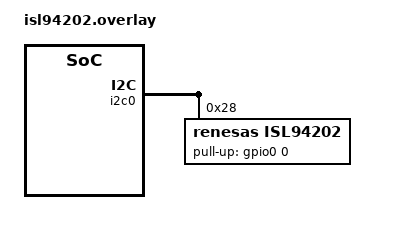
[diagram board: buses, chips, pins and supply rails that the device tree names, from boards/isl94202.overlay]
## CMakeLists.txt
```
# Copyright (c) The Libre Solar Project Contributors
# SPDX-License-Identifier: Apache-2.0

set(BOARD_ROOT ${CMAKE_SOURCE_DIR}/../..)
set(DTS_ROOT ${CMAKE_SOURCE_DIR}/../..)

set(BOARD "native_posix")

cmake_minimum_required(VERSION 3.13.1)
find_package(Zephyr REQUIRED HINTS $ENV{ZEPHYR_BASE})

project(libre_solar_bms_tests)

zephyr_include_directories(./src)
zephyr_include_directories(../../app/src)

zephyr_include_directories(../../../modules/thingset/src)

target_sources(app PRIVATE
        ../../app/src/bms_common.c
        ../../app/src/bms_soc.c
        src/common.c
        src/common_tests.c
)

zephyr_library_sources_ifdef(CONFIG_BMS_IC_BQ769X2
    src/bq769x2_tests_functions.c
    src/bq769x2_tests_interface.c
)

zephyr_library_sources_ifdef(CONFIG_BMS_IC_ISL94202
    src/isl94202_tests.c
)

# determine git tag and commit hash for automatic firmware versioning
find_package(Git)
if(GIT_FOUND)
    execute_process(
        COMMAND ${GIT_EXECUTABLE} describe --long --dirty --tags
        OUTPUT_VARIABLE FIRMWARE_VERSION_ID
        OUTPUT_STRIP_TRAILING_WHITESPACE)
else()
    set(FIRMWARE_VERSION_ID "unknown")
endif()
add_definitions(-DFIRMWARE_VERSION_ID="${FIRMWARE_VERSION_ID}")
```

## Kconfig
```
rsource "../../app/Kconfig"
```

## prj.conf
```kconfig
# SPDX-License-Identifier: Apache-2.0

CONFIG_ZTEST=y
CONFIG_ZTEST_NEW_API=y

CONFIG_THREAD_NAME=y

CONFIG_LOG=y
CONFIG_LOG_MODE_MINIMAL=y

CONFIG_SERIAL=y

CONFIG_THINGSET=y
CONFIG_THINGSET_SDK=y
CONFIG_THINGSET_SERIAL=y

# Change default battery nominal capacity (in Ah)
CONFIG_BAT_CAPACITY_AH=100

# Select cell type for initial configuration: LFP (default), NMC, NMC_HV or LTO
CONFIG_CELL_TYPE_LFP=y

CONFIG_BMS_IC=y
CONFIG_BMS_IC_MAX_THERMISTORS=2

# enable click-able absolute paths in assert messages
CONFIG_BUILD_OUTPUT_STRIP_PATHS=n
```

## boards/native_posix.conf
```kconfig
# Required for BMS emulation
CONFIG_GPIO=y
CONFIG_I2C=y

# required to generate node ID in ThingSet
CONFIG_ENTROPY_GENERATOR=y
CONFIG_ENTROPY_DEVICE_RANDOM_GENERATOR=y
```

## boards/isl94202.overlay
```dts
/*
 * Copyright (c) The Libre Solar Project Contributors
 *
 * SPDX-License-Identifier: Apache-2.0
 */

#include "native_posix.overlay"

/ {
	aliases {
                bms-ic = &isl94202;
        };
};

&i2c0 {
	status = "okay";

	isl94202: isl94202@28 {
		compatible = "renesas,isl94202";
		reg = <0x28>;	/* 0x50 >> 1 */
		pull-up-gpios = <&gpio0 0 GPIO_ACTIVE_HIGH>;
		shunt-resistor-uohm = <2000>;
		board-max-current = <50>;
		used-cell-channels = <0xFF>;
		status = "okay";
	};
};
```

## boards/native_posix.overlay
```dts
/*
 * Copyright (c) The Libre Solar Project Contributors
 *
 * SPDX-License-Identifier: Apache-2.0
 */

/ {
	pcb {
		compatible = "bms";

		type = "Native POSIX dummy";
		version-str = "v0.1";
		version-num = <1>;
	};

	chosen {
		zephyr,console = &uart0;
		zephyr,shell-uart = &uart0;
		zephyr,flash = &flash0;
	};

	leds {
		compatible = "gpio-leds";
		led1: led_0 {
			gpios = <&gpio0 14 GPIO_ACTIVE_HIGH>;
		};
		led2: led_1 {
			gpios = <&gpio0 15 GPIO_ACTIVE_HIGH>;
		};
	};

	gpio_keys {
		compatible = "gpio-keys";
		power_button: button {
			gpios = <&gpio0 8 GPIO_ACTIVE_LOW>;
		};
	};

	aliases {
		led-red = &led1;
		led-green = &led2;
		sw-pwr = &power_button;
		uart-dbg = &uart0;
		uart-uext = &uart0;
	};
};
```

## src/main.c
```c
/*
 * Copyright (c) The Libre Solar Project Contributors
 *
 * SPDX-License-Identifier: Apache-2.0
 */

#include <bms/bms.h>

#include "bq769x2_tests.h"
#include "common_tests.h"
#include "helper_tests.h"
#include "isl94202_tests.h"

#include "unity.h"

#include <stdio.h>

#include <zephyr/device.h>
#include <zephyr/kernel.h>

#ifdef CONFIG_ARCH_POSIX
#include "posix_board_if.h"
#endif

static const struct device *bms_ic = DEVICE_DT_GET(DT_ALIAS(bms_ic));

struct bms_context bms;

float OCV[] = { // 100, 95, ..., 0 %
    3.392, 3.314, 3.309, 3.308, 3.304, 3.296, 3.283, 3.275, 3.271, 3.268, 3.265,
    3.264, 3.262, 3.252, 3.240, 3.226, 3.213, 3.190, 3.177, 3.132, 2.833
};

void setUp(void)
{}

void tearDown(void)
{}

void setup()
{
    bms_ic_assign_data(bms_ic, &bms.ic_data);

    bms_ic_set_mode(bms_ic, BMS_IC_MODE_ACTIVE);

    bms.ic_conf.dis_sc_limit = 35.0;
    bms.ic_conf.dis_sc_delay_us = 200;

    bms.ic_conf.dis_oc_limit = 25.0;
    bms.ic_conf.dis_oc_delay_ms = 320;

    bms.ic_conf.chg_oc_limit = 20.0;
    bms.ic_conf.chg_oc_delay_ms = 320;

    bms.ic_conf.cell_ov_limit = 3.65;
    bms.ic_conf.cell_ov_delay_ms = 2000;

    bms.ic_conf.cell_uv_limit = 2.8;
    bms.ic_conf.cell_uv_delay_ms = 2000;

    bms.ic_conf.dis_ut_limit = -20;
    bms.ic_conf.dis_ot_limit = 45;
    bms.ic_conf.chg_ut_limit = 0;
    bms.ic_conf.chg_ot_limit = 45;
    bms.ic_conf.temp_limit_hyst = 2;

    bms.ocv_points = OCV;

    bms.nominal_capacity_Ah = 45.0;
    bms.ic_data.connected_cells = 4;

    bms.ic_conf.bal_cell_voltage_min = 3.2;
    bms.ic_conf.bal_idle_delay = 10 * 60;
    bms.ic_conf.bal_cell_voltage_diff = 0.01;
    bms.ic_conf.bal_idle_current = 0.1;

    bms_ic_configure(bms_ic, &bms.ic_conf, BMS_IC_CONF_ALL);

    bms_ic_read_data(bms_ic, BMS_IC_DATA_CELL_VOLTAGES);

    bms_soc_reset(&bms, -1);
    bms_ic_set_switches(bms_ic, BMS_SWITCH_DIS, true);
    bms_ic_set_switches(bms_ic, BMS_SWITCH_CHG, true);
}

int main(void)
{
    int err = 0;

    k_sleep(K_MSEC(100));

    setup();

    err += common_tests();

#ifdef CONFIG_BMS_IC_BQ769X0
    err += bq769x0_tests();
#elif defined(CONFIG_BMS_IC_BQ769X2)
    err += bq769x2_tests_functions();
    err += bq769x2_tests_interface();
#elif defined(CONFIG_BMS_IC_ISL94202)
    err += isl94202_tests();
#endif

    err += helper_tests();

#ifdef CONFIG_ARCH_POSIX
    posix_exit(err);
#endif

    return 0;
}
```

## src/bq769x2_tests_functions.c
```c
/*
 * Copyright (c) The Libre Solar Project Contributors
 *
 * SPDX-License-Identifier: Apache-2.0
 */

#include <bms/bms.h>
#include <zephyr/drivers/emul.h>
#include <zephyr/ztest.h>

#include "bq769x2_emul.h"

#include "common.h"

#include <math.h>
#include <stdio.h>
#include <time.h>

static const struct device *bms_ic = DEVICE_DT_GET(DT_ALIAS(bms_ic));
static const struct emul *bms_ic_emul = EMUL_DT_GET(DT_ALIAS(bms_ic));

extern struct bms_context bms;

static const float shunt_res_mohm = DT_PROP(DT_ALIAS(bms_ic), shunt_resistor_uohm) / 1000.0F;

/*
 * Below tests use actual register numbers (instead of defines from registers.h) in order to
 * double-check the register defines vs. datasheet. Also magic numbers for min/max/default
 * values are obtained from the datasheet
 */

ZTEST(bq769x2_functions, test_apply_dis_scp)
{
    int err;

    // default
    bms.ic_conf.dis_sc_limit = 10.0F / shunt_res_mohm; // reg value 0 = 10 mV
    bms.ic_conf.dis_sc_delay_us = (2 - 1) * 15;        // 15 us (reg value 1 = no delay)
    err = bms_ic_configure(bms_ic, &bms.ic_conf, BMS_IC_CONF_CURRENT_LIMITS);
    zassert_equal(0, err);
    zassert_equal(10.0F / shunt_res_mohm, bms.ic_conf.dis_sc_limit);
    zassert_equal((2 - 1) * 15, bms.ic_conf.dis_sc_delay_us);
    zassert_equal(0, bq769x2_emul_get_data_mem(bms_ic_emul, 0x9286));
    zassert_equal(2, bq769x2_emul_get_data_mem(bms_ic_emul, 0x9287));

    // min
    bms.ic_conf.dis_sc_delay_us = (1 - 1) * 15; // 15 us (reg value 1 = no delay)
    err = bms_ic_configure(bms_ic, &bms.ic_conf, BMS_IC_CONF_CURRENT_LIMITS);
    zassert_equal(0, err);
    zassert_equal((1 - 1) * 15, bms.ic_conf.dis_sc_delay_us);
    zassert_equal(1, bq769x2_emul_get_data_mem(bms_ic_emul, 0x9287));

    // too little
    bms.ic_conf.dis_sc_limit = 5.0F / shunt_res_mohm;
    err = bms_ic_configure(bms_ic, &bms.ic_conf, BMS_IC_CONF_CURRENT_LIMITS);
    zassert_equal(0, err);
    zassert_equal(10.0F / shunt_res_mohm, bms.ic_conf.dis_sc_limit);
    zassert_equal(0, bq769x2_emul_get_data_mem(bms_ic_emul, 0x9286));

    // max
    bms.ic_conf.dis_sc_limit = 500.0F / shunt_res_mohm; // reg value 015 = 500 mV
    bms.ic_conf.dis_sc_delay_us = (31 - 1) * 15;
    err = bms_ic_configure(bms_ic, &bms.ic_conf, BMS_IC_CONF_CURRENT_LIMITS);
    zassert_equal(0, err);
    zassert_equal(500.0F / shunt_res_mohm, bms.ic_conf.dis_sc_limit);
    zassert_equal((31 - 1) * 15, bms.ic_conf.dis_sc_delay_us);
    zassert_equal(15, bq769x2_emul_get_data_mem(bms_ic_emul, 0x9286));
    zassert_equal(31, bq769x2_emul_get_data_mem(bms_ic_emul, 0x9287));

    // too much
    bms.ic_conf.dis_sc_limit = 600.0F / shunt_res_mohm;
    bms.ic_conf.dis_sc_delay_us = (32 - 1) * 15;
    err = bms_ic_configure(bms_ic, &bms.ic_conf, BMS_IC_CONF_CURRENT_LIMITS);
    zassert_equal(0, err);
    zassert_equal(500.0F / shunt_res_mohm, bms.ic_conf.dis_sc_limit);
    zassert_equal((31 - 1) * 15, bms.ic_conf.dis_sc_delay_us);
    zassert_equal(15, bq769x2_emul_get_data_mem(bms_ic_emul, 0x9286));
    zassert_equal(31, bq769x2_emul_get_data_mem(bms_ic_emul, 0x9287));
}

ZTEST(bq769x2_functions, test_apply_chg_ocp)
{
    int err;

    // clear protection enable flag
    bq769x2_emul_set_data_mem(bms_ic_emul, 0x9261,
                              bq769x2_emul_get_data_mem(bms_ic_emul, 0x9261) & ~(1U << 4));

    // default
    bms.ic_conf.chg_oc_limit = 2 * 2.0F / shunt_res_mohm;
    bms.ic_conf.chg_oc_delay_ms = lroundf(6.6F + 4 * 3.3F); // 6.6 ms offset
    err = bms_ic_configure(bms_ic, &bms.ic_conf, BMS_IC_CONF_CURRENT_LIMITS);
    zassert_equal(0, err);
    zassert_equal(4.0F / shunt_res_mohm, bms.ic_conf.chg_oc_limit);
    zassert_equal(lroundf(6.6F + 4 * 3.3F), bms.ic_conf.chg_oc_delay_ms);
    zassert_equal(2, bq769x2_emul_get_data_mem(bms_ic_emul, 0x9280));
    zassert_equal(4, bq769x2_emul_get_data_mem(bms_ic_emul, 0x9281));

    // min
    bms.ic_conf.chg_oc_delay_ms = 6.6F + 1 * 3.3F;
    err = bms_ic_configure(bms_ic, &bms.ic_conf, BMS_IC_CONF_CURRENT_LIMITS);
    zassert_equal(0, err);
    zassert_equal(10, bms.ic_conf.chg_oc_delay_ms);
    zassert_equal(1, bq769x2_emul_get_data_mem(bms_ic_emul, 0x9281));

    // too little
    bms.ic_conf.chg_oc_limit = 1 * 2.0F / shunt_res_mohm;
    bms.ic_conf.chg_oc_delay_ms = 3.3F;
    err = bms_ic_configure(bms_ic, &bms.ic_conf, BMS_IC_CONF_CURRENT_LIMITS);
    zassert_equal(0, err);
    zassert_equal(4.0F / shunt_res_mohm, bms.ic_conf.chg_oc_limit);
    zassert_equal(10.0F, bms.ic_conf.chg_oc_delay_ms);
    zassert_equal(2, bq769x2_emul_get_data_mem(bms_ic_emul, 0x9280));
    zassert_equal(1, bq769x2_emul_get_data_mem(bms_ic_emul, 0x9281));

    // max
    bms.ic_conf.chg_oc_limit = 62 * 2.0F / shunt_res_mohm;
    bms.ic_conf.chg_oc_delay_ms = 6.6F + 127 * 3.3F;
    err = bms_ic_configure(bms_ic, &bms.ic_conf, BMS_IC_CONF_CURRENT_LIMITS);
    zassert_equal(0, err);
    zassert_equal(62 * 2.0F / shunt_res_mohm, bms.ic_conf.chg_oc_limit);
    zassert_equal(lroundf(6.6F + 127 * 3.3F), bms.ic_conf.chg_oc_delay_ms);
    zassert_equal(62, bq769x2_emul_get_data_mem(bms_ic_emul, 0x9280));
    zassert_equal(127, bq769x2_emul_get_data_mem(bms_ic_emul, 0x9281));

    // too much
    bms.ic_conf.chg_oc_limit = 100 * 2.0F / shunt_res_mohm;
    bms.ic_conf.chg_oc_delay_ms = 6.6F + 150 * 3.3F;
    err = bms_ic_configure(bms_ic, &bms.ic_conf, BMS_IC_CONF_CURRENT_LIMITS);
    zassert_equal(0, err);
    zassert_equal(62 * 2.0F / shunt_res_mohm, bms.ic_conf.chg_oc_limit);
    zassert_equal(lroundf(6.6F + 127 * 3.3F), bms.ic_conf.chg_oc_delay_ms);
    zassert_equal(62, bq769x2_emul_get_data_mem(bms_ic_emul, 0x9280));
    zassert_equal(127, bq769x2_emul_get_data_mem(bms_ic_emul, 0x9281));

    // check if the protection was enabled
    zassert_true(bq769x2_emul_get_data_mem(bms_ic_emul, 0x9261) & (1U << 4));
}

ZTEST(bq769x2_functions, test_apply_dis_ocp)
{
    int err;

    // clear protection enable flag
    bq769x2_emul_set_data_mem(bms_ic_emul, 0x9261,
                              bq769x2_emul_get_data_mem(bms_ic_emul, 0x9261) & ~(1U << 5));

    // default
    bms.ic_conf.dis_oc_limit = 4 * 2.0F / shunt_res_mohm;
    bms.ic_conf.dis_oc_delay_ms = 6.6F + 1 * 3.3F; // 6.6 ms offset
    err = bms_ic_configure(bms_ic, &bms.ic_conf, BMS_IC_CONF_CURRENT_LIMITS);
    zassert_equal(0, err);
    zassert_equal(8.0F / shunt_res_mohm, bms.ic_conf.dis_oc_limit);
    zassert_equal(10.0F, bms.ic_conf.dis_oc_delay_ms);
    zassert_equal(4, bq769x2_emul_get_data_mem(bms_ic_emul, 0x9282));
    zassert_equal(1, bq769x2_emul_get_data_mem(bms_ic_emul, 0x9283));

    // min
    bms.ic_conf.dis_oc_limit = 2 * 2.0F / shunt_res_mohm;
    err = bms_ic_configure(bms_ic, &bms.ic_conf, BMS_IC_CONF_CURRENT_LIMITS);
    zassert_equal(0, err);
    zassert_equal(4.0F / shunt_res_mohm, bms.ic_conf.dis_oc_limit);
    zassert_equal(2, bq769x2_emul_get_data_mem(bms_ic_emul, 0x9282));

    // too little
    bms.ic_conf.dis_oc_limit = 1 * 2.0F / shunt_res_mohm;
    bms.ic_conf.dis_oc_delay_ms = 3.3F;
    err = bms_ic_configure(bms_ic, &bms.ic_conf, BMS_IC_CONF_CURRENT_LIMITS);
    zassert_equal(0, err);
    zassert_equal(4.0F / shunt_res_mohm, bms.ic_conf.dis_oc_limit);
    zassert_equal(10.0F, bms.ic_conf.dis_oc_delay_ms);
    zassert_equal(2, bq769x2_emul_get_data_mem(bms_ic_emul, 0x9282));
    zassert_equal(1, bq769x2_emul_get_data_mem(bms_ic_emul, 0x9283));

    // max
    bms.ic_conf.dis_oc_limit = 100 * 2.0F / shunt_res_mohm;
    bms.ic_conf.dis_oc_delay_ms = 6.6F + 127 * 3.3F;
    err = bms_ic_configure(bms_ic, &bms.ic_conf, BMS_IC_CONF_CURRENT_LIMITS);
    zassert_equal(0, err);
    zassert_equal(200.0F / shunt_res_mohm, bms.ic_conf.dis_oc_limit);
    zassert_equal(lroundf(6.6F + 127 * 3.3F), bms.ic_conf.dis_oc_delay_ms);
    zassert_equal(100, bq769x2_emul_get_data_mem(bms_ic_emul, 0x9282));
    zassert_equal(127, bq769x2_emul_get_data_mem(bms_ic_emul, 0x9283));

    // too much
    bms.ic_conf.dis_oc_limit = 120 * 2.0F / shunt_res_mohm;
    bms.ic_conf.dis_oc_delay_ms = 6.6F + 150 * 3.3F;
    err = bms_ic_configure(bms_ic, &bms.ic_conf, BMS_IC_CONF_CURRENT_LIMITS);
    zassert_equal(0, err);
    zassert_equal(200.0F / shunt_res_mohm, bms.ic_conf.dis_oc_limit);
    zassert_equal(lroundf(6.6F + 127 * 3.3F), bms.ic_conf.dis_oc_delay_ms);
    zassert_equal(100, bq769x2_emul_get_data_mem(bms_ic_emul, 0x9282));
    zassert_equal(127, bq769x2_emul_get_data_mem(bms_ic_emul, 0x9283));

    // check if the protection was enabled
    zassert_true(bq769x2_emul_get_data_mem(bms_ic_emul, 0x9261) & (1U << 5));
}

ZTEST(bq769x2_functions, test_apply_cell_uvp)
{
    int err;

    // default
    bms.ic_conf.cell_uv_limit = 50 * 50.6F / 1000.0F;
    bms.ic_conf.cell_uv_reset = 52 * 50.6F / 1000.0F;
    bms.ic_conf.cell_uv_delay_ms = 74 * 3.3F;
    err = bms_ic_configure(bms_ic, &bms.ic_conf, BMS_IC_CONF_VOLTAGE_LIMITS);
    zassert_equal(0, err);
    zassert_equal(50 * 50.6F / 1000.0F, bms.ic_conf.cell_uv_limit);
    zassert_equal(52 * 50.6F / 1000.0F, bms.ic_conf.cell_uv_reset);
    zassert_equal(roundf(74 * 3.3F), bms.ic_conf.cell_uv_delay_ms);
    zassert_equal(50, bq769x2_emul_get_data_mem(bms_ic_emul, 0x9275));
    zassert_equal(74, bq769x2_emul_get_data_mem(bms_ic_emul, 0x9276));
    zassert_equal(0, bq769x2_emul_get_data_mem(bms_ic_emul, 0x9277));
    zassert_equal(2, bq769x2_emul_get_data_mem(bms_ic_emul, 0x927B));

    // min
    bms.ic_conf.cell_uv_limit = 20 * 50.6F / 1000.0F;
    bms.ic_conf.cell_uv_reset = 22 * 50.6F / 1000.0F;
    bms.ic_conf.cell_uv_delay_ms = 1 * 3.3F;
    err = bms_ic_configure(bms_ic, &bms.ic_conf, BMS_IC_CONF_VOLTAGE_LIMITS);
    zassert_equal(0, err);
    zassert_equal(20 * 50.6F / 1000.0F, bms.ic_conf.cell_uv_limit);
    zassert_equal(22 * 50.6F / 1000.0F, bms.ic_conf.cell_uv_reset);
    zassert_equal(roundf(1 * 3.3F), bms.ic_conf.cell_uv_delay_ms);
    zassert_equal(20, bq769x2_emul_get_data_mem(bms_ic_emul, 0x9275));
    zassert_equal(1, bq769x2_emul_get_data_mem(bms_ic_emul, 0x9276));
    zassert_equal(0, bq769x2_emul_get_data_mem(bms_ic_emul, 0x9277));
    zassert_equal(2, bq769x2_emul_get_data_mem(bms_ic_emul, 0x927B));

    // too little
    bms.ic_conf.cell_uv_limit = 19 * 50.6F / 1000.0F;
    bms.ic_conf.cell_uv_reset = 18 * 50.6F / 1000.0F;
    bms.ic_conf.cell_uv_delay_ms = 0.0F;
    err = bms_ic_configure(bms_ic, &bms.ic_conf, BMS_IC_CONF_VOLTAGE_LIMITS);
    zassert_equal(0, err);
    zassert_equal(20 * 50.6F / 1000.0F, bms.ic_conf.cell_uv_limit);
    zassert_equal(22 * 50.6F / 1000.0F, bms.ic_conf.cell_uv_reset);
    zassert_equal(roundf(1 * 3.3F), bms.ic_conf.cell_uv_delay_ms);
    zassert_equal(20, bq769x2_emul_get_data_mem(bms_ic_emul, 0x9275));
    zassert_equal(1, bq769x2_emul_get_data_mem(bms_ic_emul, 0x9276));
    zassert_equal(0, bq769x2_emul_get_data_mem(bms_ic_emul, 0x9277));
    zassert_equal(2, bq769x2_emul_get_data_mem(bms_ic_emul, 0x927B));

    // max
    bms.ic_conf.cell_uv_limit = 90 * 50.6F / 1000.0F;
    bms.ic_conf.cell_uv_reset = 110 * 50.6F / 1000.0F;
    bms.ic_conf.cell_uv_delay_ms = 2047 * 3.3F;
    err = bms_ic_configure(bms_ic, &bms.ic_conf, BMS_IC_CONF_VOLTAGE_LIMITS);
    zassert_equal(0, err);
    zassert_equal(90 * 50.6F / 1000.0F, bms.ic_conf.cell_uv_limit);
    zassert_equal(110 * 50.6F / 1000.0F, bms.ic_conf.cell_uv_reset);
    zassert_equal(roundf(2047 * 3.3F), bms.ic_conf.cell_uv_delay_ms);
    zassert_equal(90, bq769x2_emul_get_data_mem(bms_ic_emul, 0x9275));
    zassert_equal(2047U & 0xFF, bq769x2_emul_get_data_mem(bms_ic_emul, 0x9276));
    zassert_equal(2047U >> 8, bq769x2_emul_get_data_mem(bms_ic_emul, 0x9277));
    zassert_equal(20, bq769x2_emul_get_data_mem(bms_ic_emul, 0x927B));

    // too much
    bms.ic_conf.cell_uv_limit = 91 * 50.6F / 1000.0F;
    bms.ic_conf.cell_uv_reset = 112 * 50.6F / 1000.0F;
    bms.ic_conf.cell_uv_delay_ms = 2048 * 3.3F;
    err = bms_ic_configure(bms_ic, &bms.ic_conf, BMS_IC_CONF_VOLTAGE_LIMITS);
    zassert_equal(0, err);
    zassert_equal(90 * 50.6F / 1000.0F, bms.ic_conf.cell_uv_limit);
    zassert_equal(110 * 50.6F / 1000.0F, bms.ic_conf.cell_uv_reset);
    zassert_equal(roundf(2047 * 3.3F), bms.ic_conf.cell_uv_delay_ms);
    zassert_equal(90, bq769x2_emul_get_data_mem(bms_ic_emul, 0x9275));
    zassert_equal(2047U & 0xFF, bq769x2_emul_get_data_mem(bms_ic_emul, 0x9276));
    zassert_equal(2047U >> 8, bq769x2_emul_get_data_mem(bms_ic_emul, 0x9277));
    zassert_equal(20, bq769x2_emul_get_data_mem(bms_ic_emul, 0x927B));
}

ZTEST(bq769x2_functions, test_apply_cell_ovp)
{
    int err;

    // default
    bms.ic_conf.cell_ov_limit = 86 * 50.6F / 1000.0F;
    bms.ic_conf.cell_ov_reset = 84 * 50.6F / 1000.0F;
    bms.ic_conf.cell_ov_delay_ms = 74 * 3.3F;
    err = bms_ic_configure(bms_ic, &bms.ic_conf, BMS_IC_CONF_VOLTAGE_LIMITS);
    zassert_equal(0, err);
    zassert_equal(86 * 50.6F / 1000.0F, bms.ic_conf.cell_ov_limit);
    zassert_equal(84 * 50.6F / 1000.0F, bms.ic_conf.cell_ov_reset);
    zassert_equal(roundf(74 * 3.3F), bms.ic_conf.cell_ov_delay_ms);
    zassert_equal(86, bq769x2_emul_get_data_mem(bms_ic_emul, 0x9278));
    zassert_equal(74, bq769x2_emul_get_data_mem(bms_ic_emul, 0x9279));
    zassert_equal(0, bq769x2_emul_get_data_mem(bms_ic_emul, 0x927A));
    zassert_equal(2, bq769x2_emul_get_data_mem(bms_ic_emul, 0x927C));

    // min
    bms.ic_conf.cell_ov_limit = 20 * 50.6F / 1000.0F;
    bms.ic_conf.cell_ov_reset = 18 * 50.6F / 1000.0F;
    bms.ic_conf.cell_ov_delay_ms = 1 * 3.3F;
    err = bms_ic_configure(bms_ic, &bms.ic_conf, BMS_IC_CONF_VOLTAGE_LIMITS);
    zassert_equal(0, err);
    zassert_equal(20 * 50.6F / 1000.0F, bms.ic_conf.cell_ov_limit);
    zassert_equal(18 * 50.6F / 1000.0F, bms.ic_conf.cell_ov_reset);
    zassert_equal(roundf(1 * 3.3F), bms.ic_conf.cell_ov_delay_ms);
    zassert_equal(20, bq769x2_emul_get_data_mem(bms_ic_emul, 0x9278));
    zassert_equal(1, bq769x2_emul_get_data_mem(bms_ic_emul, 0x9279));
    zassert_equal(0, bq769x2_emul_get_data_mem(bms_ic_emul, 0x927A));
    zassert_equal(2, bq769x2_emul_get_data_mem(bms_ic_emul, 0x927C));

    // too little
    bms.ic_conf.cell_ov_limit = 19 * 50.6F / 1000.0F;
    bms.ic_conf.cell_ov_reset = 20 * 50.6F / 1000.0F;
    bms.ic_conf.cell_ov_delay_ms = 0.0F;
    err = bms_ic_configure(bms_ic, &bms.ic_conf, BMS_IC_CONF_VOLTAGE_LIMITS);
    zassert_equal(0, err);
    zassert_equal(20 * 50.6F / 1000.0F, bms.ic_conf.cell_ov_limit);
    zassert_equal(18 * 50.6F / 1000.0F, bms.ic_conf.cell_ov_reset);
    zassert_equal(roundf(1 * 3.3F), bms.ic_conf.cell_ov_delay_ms);
    zassert_equal(20, bq769x2_emul_get_data_mem(bms_ic_emul, 0x9278));
    zassert_equal(1, bq769x2_emul_get_data_mem(bms_ic_emul, 0x9279));
    zassert_equal(0, bq769x2_emul_get_data_mem(bms_ic_emul, 0x927A));
    zassert_equal(2, bq769x2_emul_get_data_mem(bms_ic_emul, 0x927C));

    // max
    bms.ic_conf.cell_ov_limit = 110 * 50.6F / 1000.0F;
    bms.ic_conf.cell_ov_reset = 90 * 50.6F / 1000.0F;
    bms.ic_conf.cell_ov_delay_ms = 2047 * 3.3F;
    err = bms_ic_configure(bms_ic, &bms.ic_conf, BMS_IC_CONF_VOLTAGE_LIMITS);
    zassert_equal(0, err);
    zassert_equal(110 * 50.6F / 1000.0F, bms.ic_conf.cell_ov_limit);
    zassert_equal(90 * 50.6F / 1000.0F, bms.ic_conf.cell_ov_reset);
    zassert_equal(roundf(2047 * 3.3F), bms.ic_conf.cell_ov_delay_ms);
    zassert_equal(110, bq769x2_emul_get_data_mem(bms_ic_emul, 0x9278));
    zassert_equal(2047U & 0xFF, bq769x2_emul_get_data_mem(bms_ic_emul, 0x9279));
    zassert_equal(2047U >> 8, bq769x2_emul_get_data_mem(bms_ic_emul, 0x927A));
    zassert_equal(20, bq769x2_emul_get_data_mem(bms_ic_emul, 0x927C));

    // too much
    bms.ic_conf.cell_ov_limit = 111 * 50.6F / 1000.0F;
    bms.ic_conf.cell_ov_reset = 112 * 50.6F / 1000.0F;
    bms.ic_conf.cell_ov_delay_ms = 2048 * 3.3F;
    err = bms_ic_configure(bms_ic, &bms.ic_conf, BMS_IC_CONF_VOLTAGE_LIMITS);
    zassert_equal(0, err);
    zassert_equal(110 * 50.6F / 1000.0F, bms.ic_conf.cell_ov_limit);
    zassert_equal(108 * 50.6F / 1000.0F, bms.ic_conf.cell_ov_reset);
    zassert_equal(roundf(2047 * 3.3F), bms.ic_conf.cell_ov_delay_ms);
    zassert_equal(110, bq769x2_emul_get_data_mem(bms_ic_emul, 0x9278));
    zassert_equal(2047U & 0xFF, bq769x2_emul_get_data_mem(bms_ic_emul, 0x9279));
    zassert_equal(2047U >> 8, bq769x2_emul_get_data_mem(bms_ic_emul, 0x927A));
    zassert_equal(2, bq769x2_emul_get_data_mem(bms_ic_emul, 0x927C));
}

ZTEST(bq769x2_functions, test_apply_temp_limits)
{
    int err;

    bq769x2_emul_set_data_mem(bms_ic_emul, 0x9262, 0);

    // default
    bms.ic_conf.dis_ot_limit = 60;
    bms.ic_conf.dis_ut_limit = 0;
    bms.ic_conf.chg_ot_limit = 55;
    bms.ic_conf.chg_ut_limit = 0;
    bms.ic_conf.temp_limit_hyst = 5;

    err = bms_ic_configure(bms_ic, &bms.ic_conf, BMS_IC_CONF_TEMP_LIMITS);
    zassert_equal(0, err);

    zassert_equal(5, bms.ic_conf.temp_limit_hyst);

    zassert_equal(60, bms.ic_conf.dis_ot_limit);
    zassert_equal(60, (int8_t)bq769x2_emul_get_data_mem(bms_ic_emul, 0x929D));
    zassert_equal(55, (int8_t)bq769x2_emul_get_data_mem(bms_ic_emul, 0x929F));

    zassert_equal(0, bms.ic_conf.dis_ut_limit);
    zassert_equal(0, (int8_t)bq769x2_emul_get_data_mem(bms_ic_emul, 0x92A9));
    zassert_equal(5, (int8_t)bq769x2_emul_get_data_mem(bms_ic_emul, 0x92AB));

    zassert_equal(55, bms.ic_conf.chg_ot_limit);
    zassert_equal(55, (int8_t)bq769x2_emul_get_data_mem(bms_ic_emul, 0x929A));
    zassert_equal(50, (int8_t)bq769x2_emul_get_data_mem(bms_ic_emul, 0x929C));

    zassert_equal(0, bms.ic_conf.chg_ut_limit);
    zassert_equal(0, (int8_t)bq769x2_emul_get_data_mem(bms_ic_emul, 0x92A6));
    zassert_equal(5, (int8_t)bq769x2_emul_get_data_mem(bms_ic_emul, 0x92A8));

    // min
    bms.ic_conf.dis_ot_limit = 0;
    bms.ic_conf.dis_ut_limit = -40;
    bms.ic_conf.chg_ot_limit = 0;
    bms.ic_conf.chg_ut_limit = -40;
    bms.ic_conf.temp_limit_hyst = 1;

    err = bms_ic_configure(bms_ic, &bms.ic_conf, BMS_IC_CONF_TEMP_LIMITS);
    zassert_equal(0, err);

    zassert_equal(1, bms.ic_conf.temp_limit_hyst);

    zassert_equal(0, bms.ic_conf.dis_ot_limit);
    zassert_equal(0, (int8_t)bq769x2_emul_get_data_mem(bms_ic_emul, 0x929D));
    zassert_equal(-1, (int8_t)bq769x2_emul_get_data_mem(bms_ic_emul, 0x929F));

    zassert_equal(-40, bms.ic_conf.dis_ut_limit);
    zassert_equal(-40, (int8_t)bq769x2_emul_get_data_mem(bms_ic_emul, 0x92A9));
    zassert_equal(-39, (int8_t)bq769x2_emul_get_data_mem(bms_ic_emul, 0x92AB));

    zassert_equal(0, bms.ic_conf.chg_ot_limit);
    zassert_equal(0, (int8_t)bq769x2_emul_get_data_mem(bms_ic_emul, 0x929A));
    zassert_equal(-1, (int8_t)bq769x2_emul_get_data_mem(bms_ic_emul, 0x929C));

    zassert_equal(-40, bms.ic_conf.chg_ut_limit);
    zassert_equal(-40, (int8_t)bq769x2_emul_get_data_mem(bms_ic_emul, 0x92A6));
    zassert_equal(-39, (int8_t)bq769x2_emul_get_data_mem(bms_ic_emul, 0x92A8));

    // too little
    bms.ic_conf.dis_ot_limit = -50;
    bms.ic_conf.dis_ut_limit = -50;
    bms.ic_conf.chg_ot_limit = -50;
    bms.ic_conf.chg_ut_limit = -50;
    bms.ic_conf.temp_limit_hyst = 0;

    err = bms_ic_configure(bms_ic, &bms.ic_conf, BMS_IC_CONF_TEMP_LIMITS);
    zassert_equal(-EIO, err); // should fail

    bms.ic_conf.dis_ot_limit = 0;
    bms.ic_conf.dis_ut_limit = -50;
    bms.ic_conf.chg_ot_limit = 0;
    bms.ic_conf.chg_ut_limit = -50;
    bms.ic_conf.temp_limit_hyst = 0;

    err = bms_ic_configure(bms_ic, &bms.ic_conf, BMS_IC_CONF_TEMP_LIMITS);
    zassert_equal(0, err);

    zassert_equal(1, bms.ic_conf.temp_limit_hyst);

    zassert_equal(0, bms.ic_conf.dis_ot_limit);
    zassert_equal(0, (int8_t)bq769x2_emul_get_data_mem(bms_ic_emul, 0x929D));
    zassert_equal(-1, (int8_t)bq769x2_emul_get_data_mem(bms_ic_emul, 0x929F));

    zassert_equal(-40, bms.ic_conf.dis_ut_limit);
    zassert_equal(-40, (int8_t)bq769x2_emul_get_data_mem(bms_ic_emul, 0x92A9));
    zassert_equal(-39, (int8_t)bq769x2_emul_get_data_mem(bms_ic_emul, 0x92AB));

    zassert_equal(0, bms.ic_conf.chg_ot_limit);
    zassert_equal(0, (int8_t)bq769x2_emul_get_data_mem(bms_ic_emul, 0x929A));
    zassert_equal(-1, (int8_t)bq769x2_emul_get_data_mem(bms_ic_emul, 0x929C));

    zassert_equal(-40, bms.ic_conf.chg_ut_limit);
    zassert_equal(-40, (int8_t)bq769x2_emul_get_data_mem(bms_ic_emul, 0x92A6));
    zassert_equal(-39, (int8_t)bq769x2_emul_get_data_mem(bms_ic_emul, 0x92A8));

    // max
    bms.ic_conf.dis_ot_limit = 120;
    bms.ic_conf.dis_ut_limit = 100;
    bms.ic_conf.chg_ot_limit = 120;
    bms.ic_conf.chg_ut_limit = 100;
    bms.ic_conf.temp_limit_hyst = 20;

    err = bms_ic_configure(bms_ic, &bms.ic_conf, BMS_IC_CONF_TEMP_LIMITS);
    zassert_equal(0, err);

    zassert_equal(20, bms.ic_conf.temp_limit_hyst);

    zassert_equal(120, bms.ic_conf.dis_ot_limit);
    zassert_equal(120, (int8_t)bq769x2_emul_get_data_mem(bms_ic_emul, 0x929D));
    zassert_equal(100, (int8_t)bq769x2_emul_get_data_mem(bms_ic_emul, 0x929F));

    zassert_equal(100, bms.ic_conf.dis_ut_limit);
    zassert_equal(100, (int8_t)bq769x2_emul_get_data_mem(bms_ic_emul, 0x92A9));
    zassert_equal(120, (int8_t)bq769x2_emul_get_data_mem(bms_ic_emul, 0x92AB));

    zassert_equal(120, bms.ic_conf.chg_ot_limit);
    zassert_equal(120, (int8_t)bq769x2_emul_get_data_mem(bms_ic_emul, 0x929A));
    zassert_equal(100, (int8_t)bq769x2_emul_get_data_mem(bms_ic_emul, 0x929C));

    zassert_equal(100, bms.ic_conf.chg_ut_limit);
    zassert_equal(100, (int8_t)bq769x2_emul_get_data_mem(bms_ic_emul, 0x92A6));
    zassert_equal(120, (int8_t)bq769x2_emul_get_data_mem(bms_ic_emul, 0x92A8));

    // too much
    bms.ic_conf.dis_ot_limit = 130;
    bms.ic_conf.dis_ut_limit = 100;
    bms.ic_conf.chg_ot_limit = 130;
    bms.ic_conf.chg_ut_limit = 100;
    bms.ic_conf.temp_limit_hyst = 30;

    err = bms_ic_configure(bms_ic, &bms.ic_conf, BMS_IC_CONF_TEMP_LIMITS);
    zassert_equal(0, err);

    zassert_equal(20, bms.ic_conf.temp_limit_hyst);

    zassert_equal(120, bms.ic_conf.dis_ot_limit);
    zassert_equal(120, (int8_t)bq769x2_emul_get_data_mem(bms_ic_emul, 0x929D));
    zassert_equal(100, (int8_t)bq769x2_emul_get_data_mem(bms_ic_emul, 0x929F));

    zassert_equal(100, bms.ic_conf.dis_ut_limit);
    zassert_equal(100, (int8_t)bq769x2_emul_get_data_mem(bms_ic_emul, 0x92A9));
    zassert_equal(120, (int8_t)bq769x2_emul_get_data_mem(bms_ic_emul, 0x92AB));

    zassert_equal(120, bms.ic_conf.chg_ot_limit);
    zassert_equal(120, (int8_t)bq769x2_emul_get_data_mem(bms_ic_emul, 0x929A));
    zassert_equal(100, (int8_t)bq769x2_emul_get_data_mem(bms_ic_emul, 0x929C));

    zassert_equal(100, bms.ic_conf.chg_ut_limit);
    zassert_equal(100, (int8_t)bq769x2_emul_get_data_mem(bms_ic_emul, 0x92A6));
    zassert_equal(120, (int8_t)bq769x2_emul_get_data_mem(bms_ic_emul, 0x92A8));

    // check if the protection was enabled
    zassert_equal((1U << 0) | (1U << 1) | (1U << 4) | (1U << 5),
                  bq769x2_emul_get_data_mem(bms_ic_emul, 0x9262));
}

static void *bq769x2_setup(void)
{
    common_setup_bms_defaults(&bms);

    return NULL;
}

ZTEST_SUITE(bq769x2_functions, NULL, bq769x2_setup, NULL, NULL, NULL);
```

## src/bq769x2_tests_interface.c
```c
/*
 * Copyright (c) The Libre Solar Project Contributors
 *
 * SPDX-License-Identifier: Apache-2.0
 */

#include <zephyr/drivers/emul.h>
#include <zephyr/ztest.h>

#include "bq769x2_emul.h"
#include "bq769x2_interface.h"
#include <bms/bms.h>

#include "common.h"

#include <stdio.h>
#include <time.h>

static const struct device *bms_ic = DEVICE_DT_GET(DT_ALIAS(bms_ic));
static const struct emul *bms_ic_emul = EMUL_DT_GET(DT_ALIAS(bms_ic));

extern struct bms_context bms;

ZTEST(bq769x2_interface, test_bq769x2_direct_read_u2)
{
    uint16_t u2 = 0;
    int err;

    bq769x2_emul_set_direct_mem(bms_ic_emul, 0, 0x00);
    bq769x2_emul_set_direct_mem(bms_ic_emul, 1, 0x00);
    err = bq769x2_direct_read_u2(bms_ic, 0, &u2);
    zassert_equal(0, err);
    zassert_equal(0, u2);

    bq769x2_emul_set_direct_mem(bms_ic_emul, 0, 0xFF);
    bq769x2_emul_set_direct_mem(bms_ic_emul, 1, 0xFF);
    err = bq769x2_direct_read_u2(bms_ic, 0, &u2);
    zassert_equal(0, err);
    zassert_equal(UINT16_MAX, u2);
}

ZTEST(bq769x2_interface, test_bq769x2_direct_read_i2)
{
    int16_t i2 = 0;
    int err;

    bq769x2_emul_set_direct_mem(bms_ic_emul, 0, 0x00);
    bq769x2_emul_set_direct_mem(bms_ic_emul, 1, 0x00);
    err = bq769x2_direct_read_i2(bms_ic, 0, &i2);
    zassert_equal(0, err);
    zassert_equal(0, i2);

    bq769x2_emul_set_direct_mem(bms_ic_emul, 0, 0xFF);
    bq769x2_emul_set_direct_mem(bms_ic_emul, 1, 0xFF);
    err = bq769x2_direct_read_i2(bms_ic, 0, &i2);
    zassert_equal(0, err);
    zassert_equal(-1, i2);

    bq769x2_emul_set_direct_mem(bms_ic_emul, 0, 0xFF);
    bq769x2_emul_set_direct_mem(bms_ic_emul, 1, 0x7F);
    err = bq769x2_direct_read_i2(bms_ic, 0, &i2);
    zassert_equal(0, err);
    zassert_equal(INT16_MAX, i2);

    bq769x2_emul_set_direct_mem(bms_ic_emul, 0, 0x00);
    bq769x2_emul_set_direct_mem(bms_ic_emul, 1, 0x80);
    err = bq769x2_direct_read_i2(bms_ic, 0, &i2);
    zassert_equal(0, err);
    zassert_equal(INT16_MIN, i2);
}

ZTEST(bq769x2_interface, test_bq769x2_subcmd_cmd_only)
{
    // reset subcommand
    uint8_t subcmd_expected[2] = { 0x12, 0x00 }; // LOWER, UPPER

    // pre-set register
    bq769x2_emul_set_direct_mem(bms_ic_emul, 0x3E, 0xFF);
    bq769x2_emul_set_direct_mem(bms_ic_emul, 0x3F, 0xFF);

    // write subcmd register via API
    int err = bq769x2_subcmd_cmd_only(bms_ic, 0x0012);
    zassert_equal(0, err);

    zassert_equal(subcmd_expected[0], bq769x2_emul_get_direct_mem(bms_ic_emul, 0x3E));
    zassert_equal(subcmd_expected[1], bq769x2_emul_get_direct_mem(bms_ic_emul, 0x3F));
}

ZTEST(bq769x2_interface, test_bq769x2_datamem_read_u1)
{
    uint8_t value = 0;

    bq769x2_emul_set_data_mem(bms_ic_emul, 0x9180, 0xFF);
    bq769x2_emul_set_data_mem(bms_ic_emul, 0x9181, 0x00);
    bq769x2_emul_set_data_mem(bms_ic_emul, 0x9182, 0x00);
    bq769x2_emul_set_data_mem(bms_ic_emul, 0x9183, 0x00);

    uint8_t chk_expected = (uint8_t) ~(0x91 + 0x80 + 0xFF);

    int err = bq769x2_datamem_read_u1(bms_ic, 0x9180, &value);
    zassert_equal(0, err);
    zassert_equal(UINT8_MAX, value);
    zassert_equal(chk_expected, bq769x2_emul_get_direct_mem(bms_ic_emul, 0x60));
}

ZTEST(bq769x2_interface, test_bq769x2_datamem_read_u2)
{
    uint16_t value = 0;

    bq769x2_emul_set_data_mem(bms_ic_emul, 0x9180, 0x00); // LSB
    bq769x2_emul_set_data_mem(bms_ic_emul, 0x9181, 0xFF); // MSB
    bq769x2_emul_set_data_mem(bms_ic_emul, 0x9182, 0x00);
    bq769x2_emul_set_data_mem(bms_ic_emul, 0x9183, 0x00);

    uint8_t chk_expected = (uint8_t) ~(0x91 + 0x80 + 0x00 + 0xFF);

    int err = bq769x2_datamem_read_u2(bms_ic, 0x9180, &value);
    zassert_equal(0, err);
    zassert_equal(0xFF00, value);
    zassert_equal(chk_expected, bq769x2_emul_get_direct_mem(bms_ic_emul, 0x60));
}

ZTEST(bq769x2_interface, test_bq769x2_datamem_read_i1)
{
    int8_t value = 0;

    bq769x2_emul_set_data_mem(bms_ic_emul, 0x9180, 0x80);
    bq769x2_emul_set_data_mem(bms_ic_emul, 0x9181, 0x00);
    bq769x2_emul_set_data_mem(bms_ic_emul, 0x9182, 0x00);
    bq769x2_emul_set_data_mem(bms_ic_emul, 0x9183, 0x00);

    uint8_t chk_expected = (uint8_t) ~(0x91 + 0x80 + 0x80);

    int err = bq769x2_datamem_read_i1(bms_ic, 0x9180, &value);
    zassert_equal(0, err);
    zassert_equal(INT8_MIN, value);
    zassert_equal(chk_expected, bq769x2_emul_get_direct_mem(bms_ic_emul, 0x60));
}

ZTEST(bq769x2_interface, test_bq769x2_datamem_read_i2)
{
    int16_t value = 0;

    bq769x2_emul_set_data_mem(bms_ic_emul, 0x9180, 0x00); // LSB
    bq769x2_emul_set_data_mem(bms_ic_emul, 0x9181, 0x80); // MSB
    bq769x2_emul_set_data_mem(bms_ic_emul, 0x9182, 0x00);
    bq769x2_emul_set_data_mem(bms_ic_emul, 0x9183, 0x00);

    uint8_t chk_expected = (uint8_t) ~(0x91 + 0x80 + 0x00 + 0x80);

    int err = bq769x2_datamem_read_i2(bms_ic, 0x9180, &value);
    zassert_equal(0, err);
    zassert_equal(INT16_MIN, value);
    zassert_equal(chk_expected, bq769x2_emul_get_direct_mem(bms_ic_emul, 0x60));
}

ZTEST(bq769x2_interface, test_bq769x2_datamem_read_f4)
{
    float value = 0.0F;

    bq769x2_emul_set_data_mem(bms_ic_emul, 0x9180, 0xB6); // LSB
    bq769x2_emul_set_data_mem(bms_ic_emul, 0x9181, 0xF3);
    bq769x2_emul_set_data_mem(bms_ic_emul, 0x9182, 0x9D);
    bq769x2_emul_set_data_mem(bms_ic_emul, 0x9183, 0x3F); // MSB

    uint8_t chk_expected = (uint8_t) ~(0x91 + 0x80 + 0xB6 + 0xF3 + 0x9D + 0x3F);

    int err = bq769x2_datamem_read_f4(bms_ic, 0x9180, &value);
    zassert_equal(0, err);
    zassert_equal(1.234F, value);
    zassert_equal(chk_expected, bq769x2_emul_get_direct_mem(bms_ic_emul, 0x60));
}

ZTEST(bq769x2_interface, test_bq769x2_datamem_write_u1)
{
    uint8_t data_expected[] = { 0xFF };
    uint8_t chk_expected = (uint8_t) ~(0x91 + 0x80 + 0xFF);
    uint8_t len_expected = 4 + sizeof(data_expected);

    bq769x2_config_update_mode(bms_ic, true);

    int err = bq769x2_datamem_write_u1(bms_ic, 0x9180, UINT8_MAX);
    zassert_equal(0, err);

    zassert_equal(data_expected[0], bq769x2_emul_get_direct_mem(bms_ic_emul, 0x40));
    zassert_equal(chk_expected, bq769x2_emul_get_direct_mem(bms_ic_emul, 0x60));
    zassert_equal(len_expected, bq769x2_emul_get_direct_mem(bms_ic_emul, 0x61));

    bq769x2_config_update_mode(bms_ic, false);
}

ZTEST(bq769x2_interface, test_bq769x2_datamem_write_u2)
{
    uint8_t data_expected[] = { 0x00, 0xFF };
    uint8_t chk_expected = (uint8_t) ~(0x91 + 0x80 + 0xFF);
    uint8_t len_expected = 4 + sizeof(data_expected);

    bq769x2_config_update_mode(bms_ic, true);

    int err = bq769x2_datamem_write_u2(bms_ic, 0x9180, 0xFF00);
    zassert_equal(0, err);

    zassert_equal(data_expected[0], bq769x2_emul_get_direct_mem(bms_ic_emul, 0x40));
    zassert_equal(data_expected[1], bq769x2_emul_get_direct_mem(bms_ic_emul, 0x41));
    zassert_equal(chk_expected, bq769x2_emul_get_direct_mem(bms_ic_emul, 0x60));
    zassert_equal(len_expected, bq769x2_emul_get_direct_mem(bms_ic_emul, 0x61));

    bq769x2_config_update_mode(bms_ic, false);
}

ZTEST(bq769x2_interface, test_bq769x2_datamem_write_i1)
{
    uint8_t data_expected[] = { 0x80 };
    uint8_t chk_expected = (uint8_t) ~(0x91 + 0x80 + 0x80);
    uint8_t len_expected = 4 + sizeof(data_expected);

    bq769x2_config_update_mode(bms_ic, true);

    int err = bq769x2_datamem_write_i1(bms_ic, 0x9180, INT8_MIN);
    zassert_equal(0, err);

    zassert_equal(data_expected[0], bq769x2_emul_get_direct_mem(bms_ic_emul, 0x40));
    zassert_equal(chk_expected, bq769x2_emul_get_direct_mem(bms_ic_emul, 0x60));
    zassert_equal(len_expected, bq769x2_emul_get_direct_mem(bms_ic_emul, 0x61));

    bq769x2_config_update_mode(bms_ic, false);
}

ZTEST(bq769x2_interface, test_bq769x2_datamem_write_i2)
{
    uint8_t data_expected[] = { 0x00, 0x80 };
    uint8_t chk_expected = (uint8_t) ~(0x91 + 0x80 + 0x00 + 0x80);
    uint8_t len_expected = 4 + sizeof(data_expected);

    bq769x2_config_update_mode(bms_ic, true);

    int err = bq769x2_datamem_write_i2(bms_ic, 0x9180, INT16_MIN);
    zassert_equal(0, err);

    zassert_equal(data_expected[0], bq769x2_emul_get_direct_mem(bms_ic_emul, 0x40));
    zassert_equal(data_expected[1], bq769x2_emul_get_direct_mem(bms_ic_emul, 0x41));
    zassert_equal(chk_expected, bq769x2_emul_get_direct_mem(bms_ic_emul, 0x60));
    zassert_equal(len_expected, bq769x2_emul_get_direct_mem(bms_ic_emul, 0x61));

    bq769x2_config_update_mode(bms_ic, false);
}

ZTEST(bq769x2_interface, test_bq769x2_datamem_write_f4)
{
    uint8_t data_expected[] = { 0xB6, 0xF3, 0x9D, 0x3F };
    uint8_t chk_expected = (uint8_t) ~(0x91 + 0x80 + 0xB6 + 0xF3 + 0x9D + 0x3F);
    uint8_t len_expected = 4 + sizeof(data_expected);

    bq769x2_config_update_mode(bms_ic, true);

    int err = bq769x2_datamem_write_f4(bms_ic, 0x9180, 1.234F);
    zassert_equal(0, err);

    zassert_equal(data_expected[0], bq769x2_emul_get_direct_mem(bms_ic_emul, 0x40));
    zassert_equal(data_expected[1], bq769x2_emul_get_direct_mem(bms_ic_emul, 0x41));
    zassert_equal(data_expected[2], bq769x2_emul_get_direct_mem(bms_ic_emul, 0x42));
    zassert_equal(data_expected[3], bq769x2_emul_get_direct_mem(bms_ic_emul, 0x43));
    zassert_equal(chk_expected, bq769x2_emul_get_direct_mem(bms_ic_emul, 0x60));
    zassert_equal(len_expected, bq769x2_emul_get_direct_mem(bms_ic_emul, 0x61));

    bq769x2_config_update_mode(bms_ic, false);
}

static void *bq769x2_setup(void)
{
    common_setup_bms_defaults(&bms);

    return NULL;
}

ZTEST_SUITE(bq769x2_interface, NULL, bq769x2_setup, NULL, NULL, NULL);
```

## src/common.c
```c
/*
 * Copyright (c) The Libre Solar Project Contributors
 *
 * SPDX-License-Identifier: Apache-2.0
 */

#include <bms/bms.h>

#include <zephyr/device.h>
#include <zephyr/kernel.h>

struct bms_context bms;

const struct device *bms_ic = DEVICE_DT_GET(DT_ALIAS(bms_ic));

float OCV[] = { // 100, 95, ..., 0 %
    3.392, 3.314, 3.309, 3.308, 3.304, 3.296, 3.283, 3.275, 3.271, 3.268, 3.265,
    3.264, 3.262, 3.252, 3.240, 3.226, 3.213, 3.190, 3.177, 3.132, 2.833
};

void common_setup_bms_defaults()
{
    bms_ic_assign_data(bms_ic, &bms.ic_data);

    bms_ic_set_mode(bms_ic, BMS_IC_MODE_ACTIVE);

    bms.ic_conf.dis_sc_limit = 35.0;
    bms.ic_conf.dis_sc_delay_us = 200;

    bms.ic_conf.dis_oc_limit = 25.0;
    bms.ic_conf.dis_oc_delay_ms = 320;

    bms.ic_conf.chg_oc_limit = 20.0;
    bms.ic_conf.chg_oc_delay_ms = 320;

    bms.ic_conf.cell_ov_limit = 3.65;
    bms.ic_conf.cell_ov_delay_ms = 2000;

    bms.ic_conf.cell_uv_limit = 2.8;
    bms.ic_conf.cell_uv_delay_ms = 2000;

    bms.ic_conf.dis_ut_limit = -20;
    bms.ic_conf.dis_ot_limit = 45;
    bms.ic_conf.chg_ut_limit = 0;
    bms.ic_conf.chg_ot_limit = 45;
    bms.ic_conf.temp_limit_hyst = 2;

    bms.ocv_points = OCV;

    bms.nominal_capacity_Ah = 45.0;
    bms.ic_data.connected_cells = 4;

    bms.ic_conf.bal_cell_voltage_min = 3.2;
    bms.ic_conf.bal_idle_delay = 10 * 60;
    bms.ic_conf.bal_cell_voltage_diff = 0.01;
    bms.ic_conf.bal_idle_current = 0.1;

    bms_ic_configure(bms_ic, &bms.ic_conf, BMS_IC_CONF_ALL);

    bms_ic_read_data(bms_ic, BMS_IC_DATA_CELL_VOLTAGES);

    bms_soc_reset(&bms, -1);
    bms_ic_set_switches(bms_ic, BMS_SWITCH_DIS, true);
    bms_ic_set_switches(bms_ic, BMS_SWITCH_CHG, true);
}
```

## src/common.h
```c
/*
 * Copyright (c) The Libre Solar Project Contributors
 *
 * SPDX-License-Identifier: Apache-2.0
 */

#ifndef TESTS_COMMON_H_
#define TESTS_COMMON_H_

void common_setup_bms_defaults();

#endif /* TESTS_COMMON_H_ */
```

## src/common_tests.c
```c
/*
 * Copyright (c) The Libre Solar Project Contributors
 *
 * SPDX-License-Identifier: Apache-2.0
 */

#include <zephyr/ztest.h>

#include <bms/bms.h>

#include <stdio.h>
#include <time.h>

extern struct bms_context bms;

void init_conf()
{
    bms.ic_conf.cell_ov_limit = 3.65;
    bms.ic_conf.cell_ov_delay_ms = 2000;

    bms.ic_conf.cell_uv_limit = 2.8;
    bms.ic_conf.cell_uv_delay_ms = 2000;

    bms.ic_conf.dis_ut_limit = -20;
    bms.ic_conf.dis_ot_limit = 45;
    bms.ic_conf.chg_ut_limit = 0;
    bms.ic_conf.chg_ot_limit = 45;
    bms.ic_conf.temp_limit_hyst = 2;

    bms.ic_conf.bal_cell_voltage_min = 3.2;
    bms.ic_conf.bal_idle_delay = 5 * 60;
    bms.ic_conf.bal_cell_voltage_diff = 0.01;

    for (int i = 0; i < CONFIG_BMS_IC_MAX_CELLS; i++) {
        bms.ic_data.cell_voltages[i] = 3.3;
    }
    bms.ic_data.cell_voltage_min = 3.3;
    bms.ic_data.cell_voltage_max = 3.3;
    bms.ic_data.cell_voltage_avg = 3.3;

    for (int i = 0; i < CONFIG_BMS_IC_MAX_THERMISTORS; i++) {
        bms.ic_data.cell_temps[i] = 25;
    }
    bms.ic_data.cell_temp_min = 25;
    bms.ic_data.cell_temp_max = 25;
    bms.ic_data.cell_temp_avg = 25;

    bms.state = BMS_STATE_OFF;
    bms.ic_data.error_flags = 0;

    bms.full = false;
    bms.empty = false;

    bms.chg_enable = true;
    bms.dis_enable = true;
}

ZTEST(common, test_no_off2dis_if_dis_nok)
{
    init_conf();
    bms.empty = true;
    bms_state_machine(&bms);
    zassert_not_equal(BMS_STATE_DIS, bms.state);

    init_conf();
    bms.ic_data.error_flags |= BMS_ERR_DIS_OVERTEMP;
    bms_state_machine(&bms);
    zassert_not_equal(BMS_STATE_DIS, bms.state);
}

ZTEST(common, test_off2dis_if_dis_ok)
{
    init_conf();
    bms.full = true;
    bms_state_machine(&bms);
    zassert_equal(BMS_STATE_DIS, bms.state);
}

ZTEST(common, test_no_off2chg_if_chg_ok)
{
    init_conf();
    bms_state_machine(&bms);
    zassert_not_equal(BMS_STATE_CHG, bms.state);
}

ZTEST(common, test_off2chg_if_chg_ok_and_dis_nok)
{
    init_conf();
    bms.empty = true;
    bms_state_machine(&bms);
    zassert_equal(BMS_STATE_CHG, bms.state);

    init_conf();
    bms.ic_data.error_flags |= BMS_ERR_DIS_OVERTEMP;
    bms_state_machine(&bms);
    zassert_equal(BMS_STATE_CHG, bms.state);
}

ZTEST(common, test_chg2off_if_chg_nok)
{
    init_conf();
    bms.state = BMS_STATE_CHG;
    bms.full = true;
    bms_state_machine(&bms);
    zassert_equal(BMS_STATE_OFF, bms.state);

    init_conf();
    bms.state = BMS_STATE_CHG;
    bms.ic_data.error_flags |= BMS_ERR_CHG_OVERTEMP;
    bms_state_machine(&bms);
    zassert_equal(BMS_STATE_OFF, bms.state);
}

ZTEST(common, test_chg2normal_if_dis_ok)
{
    init_conf();
    bms.state = BMS_STATE_CHG;
    bms_state_machine(&bms);
    zassert_equal(BMS_STATE_NORMAL, bms.state);
}

ZTEST(common, test_dis2off_if_dis_nok)
{
    init_conf();
    bms.state = BMS_STATE_DIS;
    bms.empty = true;
    bms_state_machine(&bms);
    zassert_equal(BMS_STATE_OFF, bms.state);

    init_conf();
    bms.state = BMS_STATE_DIS;
    bms.ic_data.error_flags |= BMS_ERR_DIS_OVERTEMP;
    bms_state_machine(&bms);
    zassert_equal(BMS_STATE_OFF, bms.state);
}

ZTEST(common, test_dis2normal_if_chg_ok)
{
    init_conf();
    bms.state = BMS_STATE_DIS;
    bms_state_machine(&bms);
    zassert_equal(BMS_STATE_NORMAL, bms.state);
}

ZTEST(common, test_normal2dis_if_chg_nok)
{
    init_conf();
    bms.state = BMS_STATE_NORMAL;
    bms.full = true;
    bms_state_machine(&bms);
    zassert_equal(BMS_STATE_DIS, bms.state);

    init_conf();
    bms.state = BMS_STATE_NORMAL;
    bms.ic_data.error_flags |= BMS_ERR_CHG_OVERTEMP;
    bms_state_machine(&bms);
    zassert_equal(BMS_STATE_DIS, bms.state);
}

ZTEST(common, test_normal2chg_if_dis_nok)
{
    init_conf();
    bms.state = BMS_STATE_NORMAL;
    bms.empty = true;
    bms_state_machine(&bms);
    zassert_equal(BMS_STATE_CHG, bms.state);

    init_conf();
    bms.state = BMS_STATE_NORMAL;
    bms.ic_data.error_flags |= BMS_ERR_DIS_OVERTEMP;
    bms_state_machine(&bms);
    zassert_equal(BMS_STATE_CHG, bms.state);
}

/*
ZTEST(common, test_no_normal2balancing_if_nok)
{
    init_conf();
    bms.state = BMS_STATE_NORMAL;
    bms.ic_data.cell_voltages[3] += 0.011;
    bms.ic_data.cell_voltage_max = bms.ic_data.cell_voltages[3];
    bms.ic_data.cell_voltage_min = bms.ic_data.cell_voltages[2];

    // idle time not long enough
    bms.ic_data.no_idle_timestamp = time(NULL) - 5*60 + 1;
    bms_state_machine(&bms);
    zassert_equal(BMS_STATE_NORMAL, bms.state);

    // SOC too low
    bms.ic_data.current = bms.ic_conf.bal_idle_current - 0.1;
    bms.ic_data.cell_voltages[3] = bms.ic_conf.bal_cell_voltage_min + 0.1;
    bms.ic_data.cell_voltage_max = bms.ic_data.cell_voltages[3];
    bms_state_machine(&bms);
    zassert_equal(BMS_STATE_NORMAL, bms.state);
}

ZTEST(common, test_normal2balancing_if_ok)
{
    init_conf();
    bms.state = BMS_STATE_NORMAL;
    bms.ic_data.no_idle_timestamp = time(NULL) - 5*60 - 1;
    bms.ic_data.cell_voltages[3] += 0.011;
    bms.ic_data.cell_voltage_max = bms.ic_data.cell_voltages[3];
    bms.ic_data.cell_voltage_min = bms.ic_data.cell_voltages[2];
    bms_state_machine(&bms);
    zassert_equal(BMS_STATE_BALANCING, bms.state);
}

ZTEST(common, test_normal2balancing_if_ok)
{
    init_conf();
    bms.state = BMS_STATE_BALANCING;
    bms.ic_data.no_idle_timestamp = time(NULL);
    bms_state_machine(&bms);
    zassert_equal(BMS_STATE_NORMAL, bms.state);
}

ZTEST(common, test_balancing2normal_if_done)
{
    init_conf();
    bms.state = BMS_STATE_BALANCING;
    bms.ic_data.no_idle_timestamp = time(NULL) - 5*60 - 1;
    bms.ic_data.cell_voltages[3] = 3.309;
    bms.ic_data.cell_voltage_max = bms.ic_data.cell_voltages[3];
    bms.ic_data.cell_voltages[2] = 3.3;
    bms.ic_data.cell_voltage_min = bms.ic_data.cell_voltages[2];
    bms_state_machine(&bms);
    zassert_equal(BMS_STATE_NORMAL, bms.state);
}
*/

ZTEST_SUITE(common, NULL, NULL, NULL, NULL, NULL);
```

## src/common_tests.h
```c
/*
 * Copyright (c) The Libre Solar Project Contributors
 *
 * SPDX-License-Identifier: Apache-2.0
 */

#ifndef COMMON_TESTS_H_
#define COMMON_TESTS_H_

int common_tests();

#endif /* COMMON_TESTS_H_ */
```

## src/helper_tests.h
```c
/*
 * Copyright (c) The Libre Solar Project Contributors
 *
 * SPDX-License-Identifier: Apache-2.0
 */

#ifndef HELPER_TESTS_H_
#define HELPER_TESTS_H_

int helper_tests();

#endif /* HELPER_TESTS_H_ */
```

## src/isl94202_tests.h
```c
/*
 * Copyright (c) The Libre Solar Project Contributors
 *
 * SPDX-License-Identifier: Apache-2.0
 */

#ifndef ISL94202_TESTS_H_
#define ISL94202_TESTS_H_

int isl94202_tests();

#endif /* ISL94202_TESTS_H_ */
```
